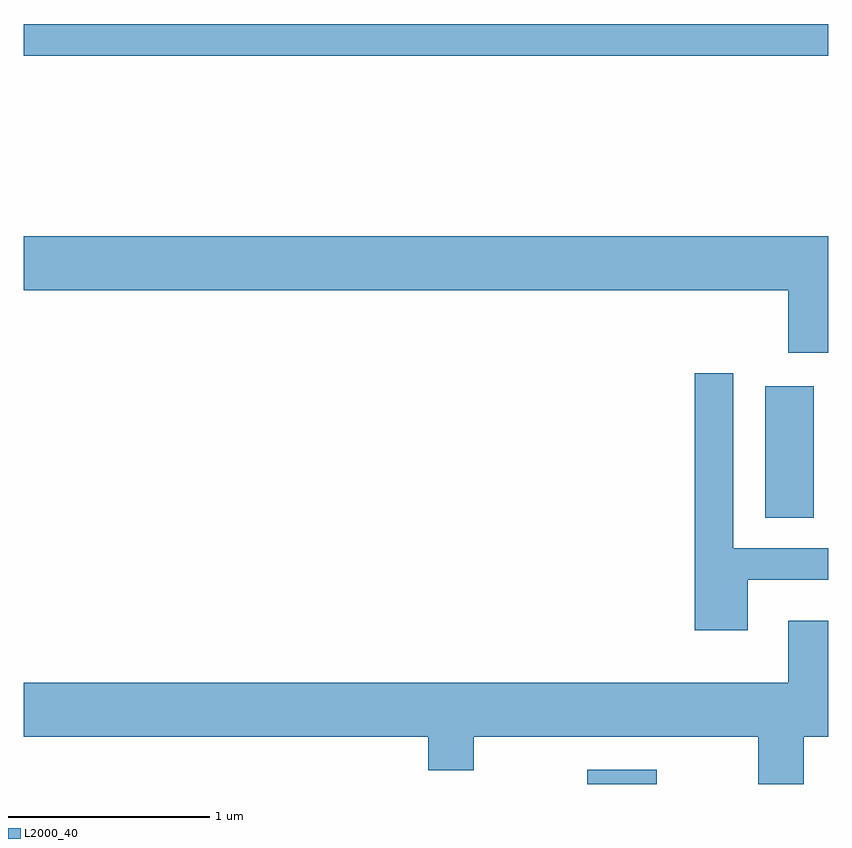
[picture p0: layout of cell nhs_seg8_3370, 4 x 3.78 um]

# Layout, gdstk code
import gdstk
lib = gdstk.Library(unit=1e-6, precision=1e-09)
def R(c, l, rs):  # rectangles x0, y0, x1, y1
    for r in rs: c.add(gdstk.rectangle(r[:2], r[2:], *l))
def P(c, l, *ps):  # polygons
    for p in ps: c.add(gdstk.Polygon(p, *l))
L2000_40 = (2000, 40)

nhs_seg8_3370 = lib.new_cell('nhs_seg8_3370')
R(nhs_seg8_3370, L2000_40, [(288.413,1898.342,288.759,1898.414), (289.296,1899.666,289.539,1900.319), (285.611,1901.961,289.611,1902.119)])
P(nhs_seg8_3370, L2000_40, [(289.611,1901.064),(285.611,1901.064),(285.611,1900.796),(289.411,1900.796),(289.411,1900.486),(289.611,1900.486)],
  [(289.209,1899.356),(289.611,1899.356),(289.611,1899.514),(289.139,1899.514),(289.139,1900.384),(288.946,1900.384),(288.946,1899.106),(289.209,1899.106)],
  [(285.611,1898.576),(287.621,1898.576),(287.621,1898.411),(287.849,1898.411),(287.849,1898.576),(289.261,1898.576),(289.261,1898.342),(289.489,1898.342),(289.489,1898.576),(289.611,1898.576),(289.611,1899.154),(289.411,1899.154),(289.411,1898.844),(285.611,1898.844)])

lib.write_gds('nhs_seg8_3370.gds')
